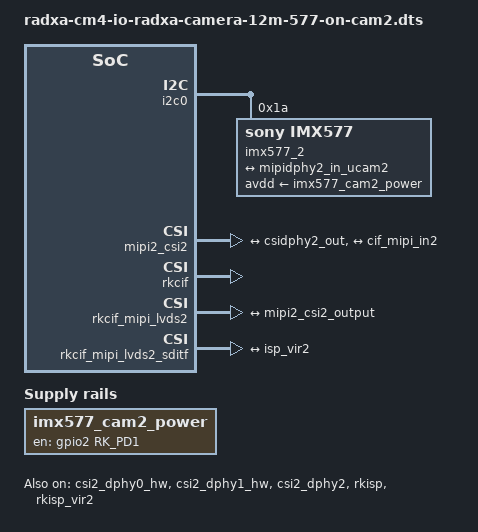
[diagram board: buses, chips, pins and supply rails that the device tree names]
/dts-v1/;
/plugin/;

#include <dt-bindings/power/rk3576-power.h>
#include <dt-bindings/gpio/gpio.h>
#include <dt-bindings/pinctrl/rockchip.h>

/ {
	metadata {
		title = "Enable Radxa Camera 12M 577 on CAM2 (15-pin)";
		compatible = "radxa,cm4-io";
		category = "camera";
		exclusive = "GPIO2_D1", "csi2_dphy2", "i2c0";
		description = "Enable Radxa Camera 12M 577 on CAM2 (15-pin)";
	};
};

&{/} {
	imx577_cam2_power: imx577-cam2-power {
		compatible = "regulator-fixed";
		regulator-name = "imx577_cam2_power";
		startup-delay-us = <250000>;
		off-on-delay-us = <20000>;
		enable-active-high;
		gpio = <&gpio2 RK_PD1 GPIO_ACTIVE_HIGH>;
		pinctrl-names = "default";
		pinctrl-0 = <&imx577_cam2_power_pin>;
	};
};

&i2c0 {
	status = "okay";
	pinctrl-names = "default";
	pinctrl-0 = <&i2c0m1_xfer>;
	#address-cells = <1>;
	#size-cells = <0>;

	imx577_2: imx577@1a {
		status = "okay";
		compatible = "sony,imx577";
		reg = <0x1a>;
		power-domains = <&power RK3576_PD_VI>;
		avdd-supply = <&imx577_cam2_power>;
		rockchip,camera-module-index = <1>;
		rockchip,camera-module-facing = "back";
		rockchip,camera-module-name = "RADXA-CAMERA-12M";
		rockchip,camera-module-lens-name = "default";

		port {
			imx577_out2: endpoint {
				remote-endpoint = <&mipidphy2_in_ucam2>;
				data-lanes = <1 2>;
			};
		};
	};
};

&csi2_dphy0_hw {
	status = "okay";
};

&csi2_dphy1_hw {
	status = "okay";
};

&csi2_dphy2 {
	status = "okay";

	ports {
		#address-cells = <1>;
		#size-cells = <0>;

		port@0 {
			reg = <0>;
			#address-cells = <1>;
			#size-cells = <0>;

			mipidphy2_in_ucam2: endpoint@2 {
				reg = <2>;
				remote-endpoint = <&imx577_out2>;
				data-lanes = <1 2>;
			};
		};

		port@1 {
			reg = <1>;
			#address-cells = <1>;
			#size-cells = <0>;

			csidphy2_out: endpoint@0 {
				reg = <0>;
				remote-endpoint = <&mipi2_csi2_input>;
			};
		};
	};
};

&mipi2_csi2 {
	status = "okay";

	ports {
		#address-cells = <1>;
		#size-cells = <0>;

		port@0 {
			reg = <0>;
			#address-cells = <1>;
			#size-cells = <0>;

			mipi2_csi2_input: endpoint@1 {
				reg = <1>;
				remote-endpoint = <&csidphy2_out>;
			};
		};

		port@1 {
			reg = <1>;
			#address-cells = <1>;
			#size-cells = <0>;

			mipi2_csi2_output: endpoint@0 {
				reg = <0>;
				remote-endpoint = <&cif_mipi_in2>;
			};
		};
	};
};

&rkcif {
	status = "okay";
};

&rkcif_mmu {
	status = "okay";
};

&rkcif_mipi_lvds2 {
	status = "okay";

	port {
		cif_mipi_in2: endpoint {
			remote-endpoint = <&mipi2_csi2_output>;
		};
	};
};

&rkcif_mipi_lvds2_sditf {
	status = "okay";

	port {
		mipi_lvds2_sditf: endpoint {
			remote-endpoint = <&isp_vir2>;
		};
	};
};

&rkisp_mmu {
	status = "okay";
};

&rkisp {
	status = "okay";
};

&rkisp_vir2 {
	status = "okay";

	port {
		#address-cells = <1>;
		#size-cells = <0>;

		isp_vir2: endpoint@0 {
			reg = <0>;
			remote-endpoint = <&mipi_lvds2_sditf>;
		};
	};
};

&pinctrl {
	camera {
		imx577_cam2_power_pin: imx577-cam2-power-pin {
			rockchip,pins = <2 RK_PD1 RK_FUNC_GPIO &pcfg_pull_up>;
		};
	};
};
